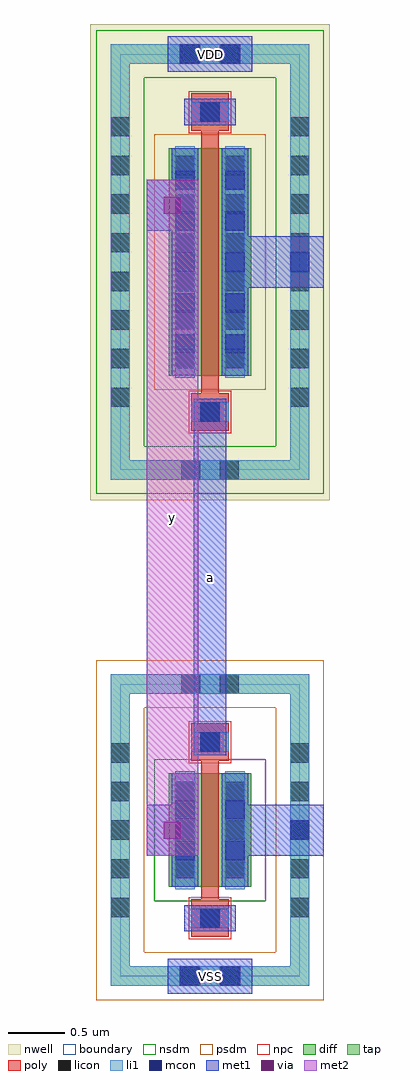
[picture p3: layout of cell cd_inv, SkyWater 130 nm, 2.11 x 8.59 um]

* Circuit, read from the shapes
.subckt cd_inv VDD VSS a y
XM1 VSS a y VSS sky130_fd_pr__nfet_01v8 w=1 l=0.15
XM2 VDD a y VDD sky130_fd_pr__pfet_01v8 w=2 l=0.15
.ends

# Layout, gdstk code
import gdstk
lib = gdstk.Library(unit=1e-6, precision=1e-09)
def R(c, l, rs):  # rectangles x0, y0, x1, y1
    for r in rs: c.add(gdstk.rectangle(r[:2], r[2:], *l))
def A(c, l, x, y, w, h, nx, ny, dx, dy):  # array of equal rectangles
    R(c, l, [(x+i*dx, y+j*dy, x+i*dx+w, y+j*dy+h) for i in range(nx) for j in range(ny)])
nwell = (64, 20)
diff = (65, 20)
tap = (65, 44)
poly = (66, 20)
licon = (66, 44)
li1 = (67, 20)
mcon = (67, 44)
met1 = (68, 20)
via = (68, 44)
met2 = (69, 20)
nsdm = (93, 44)
psdm = (94, 20)
npc = (95, 20)
boundary = (235, 4)

cd_p2_l015 = lib.new_cell('cd_p2_l015')
R(cd_p2_l015, nwell, [(-1.055,-2.095,1.055,2.095)])
R(cd_p2_l015, diff, [(-0.365,-1,0.365,1)])
R(cd_p2_l015, tap, [(-0.875,-1.915,0.875,-1.745), (-0.875,-1.745,-0.705,1.745), (0.705,-1.745,0.875,1.745), (-0.875,1.745,0.875,1.915)])
R(cd_p2_l015, poly, [(-0.165,-1.485,0.165,-1.155), (-0.075,-1.155,0.075,1.155), (-0.165,1.155,0.165,1.485)])
A(cd_p2_l015, licon, -0.875, -1.275, 0.17, 0.17, 1, 8, 0, 0.34)
A(cd_p2_l015, licon, 0.705, -1.275, 0.17, 0.17, 1, 8, 0, 0.34)
A(cd_p2_l015, licon, -0.305, -0.935, 0.17, 0.17, 1, 6, 0, 0.34)
A(cd_p2_l015, licon, 0.135, -0.935, 0.17, 0.17, 1, 6, 0, 0.34)
R(cd_p2_l015, licon, [(-0.255,-1.915,-0.085,-1.745), (0.085,-1.915,0.255,-1.745), (-0.085,-1.405,0.085,-1.235), (-0.085,1.235,0.085,1.405), (-0.255,1.745,-0.085,1.915), (0.085,1.745,0.255,1.915)])
R(cd_p2_l015, li1, [(-0.875,-1.915,0.875,-1.745), (-0.875,-1.745,-0.705,1.745), (0.705,-1.745,0.875,1.745), (-0.165,-1.405,0.165,-1.235), (-0.305,-1.02,-0.135,1.02), (0.135,-1.02,0.305,1.02), (-0.165,1.235,0.165,1.405), (-0.875,1.745,0.875,1.915)])
A(cd_p2_l015, mcon, -0.305, -0.805, 0.17, 0.17, 1, 5, 0, 0.36)
A(cd_p2_l015, mcon, 0.135, -0.805, 0.17, 0.17, 1, 5, 0, 0.36)
R(cd_p2_l015, mcon, [(-0.085,-1.405,0.085,-1.235), (-0.085,1.235,0.085,1.405)])
R(cd_p2_l015, met1, [(-0.145,-1.435,0.145,-1.205), (-0.335,-1,-0.105,1), (0.105,-1,0.335,1), (-0.145,1.205,0.145,1.435)])
R(cd_p2_l015, nsdm, [(-1,-2.04,1,-1.62), (-1,-1.62,-0.58,1.62), (0.58,-1.62,1,1.62), (-1,1.62,1,2.04)])
R(cd_p2_l015, psdm, [(-0.49,-1.125,0.49,1.125)])
R(cd_p2_l015, npc, [(-0.185,-1.505,0.185,-1.135), (-0.185,1.135,0.185,1.505)])
R(cd_p2_l015, boundary, [(-0.79,-1.83,0.79,1.83)])
cd_p2_l015.add(gdstk.Label('B', (0,-1.83), layer=67, texttype=5))
cd_p2_l015.add(gdstk.Label('D', (-0.22,0), layer=67, texttype=5))
cd_p2_l015.add(gdstk.Label('S', (0.22,0), layer=67, texttype=5))
cd_p2_l015.add(gdstk.Label('G', (0,1.32), layer=67, texttype=5))

cd_n1_l015 = lib.new_cell('cd_n1_l015')
R(cd_n1_l015, diff, [(-0.365,-0.5,0.365,0.5)])
R(cd_n1_l015, tap, [(-0.875,-1.37,0.875,-1.2), (-0.875,-1.2,-0.705,1.2), (0.705,-1.2,0.875,1.2), (-0.875,1.2,0.875,1.37)])
R(cd_n1_l015, poly, [(-0.165,-0.94,0.165,-0.61), (-0.075,-0.61,0.075,0.61), (-0.165,0.61,0.165,0.94)])
A(cd_n1_l015, licon, -0.875, -0.765, 0.17, 0.17, 1, 5, 0, 0.34)
A(cd_n1_l015, licon, 0.705, -0.765, 0.17, 0.17, 1, 5, 0, 0.34)
A(cd_n1_l015, licon, -0.305, -0.425, 0.17, 0.17, 1, 3, 0, 0.34)
A(cd_n1_l015, licon, 0.135, -0.425, 0.17, 0.17, 1, 3, 0, 0.34)
R(cd_n1_l015, licon, [(-0.255,-1.37,-0.085,-1.2), (0.085,-1.37,0.255,-1.2), (-0.085,-0.86,0.085,-0.69), (-0.085,0.69,0.085,0.86), (-0.255,1.2,-0.085,1.37), (0.085,1.2,0.255,1.37)])
R(cd_n1_l015, li1, [(-0.875,-1.37,0.875,-1.2), (-0.875,-1.2,-0.705,1.2), (0.705,-1.2,0.875,1.2), (-0.165,-0.86,0.165,-0.69), (-0.305,-0.52,-0.135,0.52), (0.135,-0.52,0.305,0.52), (-0.165,0.69,0.165,0.86), (-0.875,1.2,0.875,1.37)])
R(cd_n1_l015, mcon, [(-0.085,-0.86,0.085,-0.69), (-0.305,-0.265,-0.135,-0.095), (0.135,-0.265,0.305,-0.095), (-0.305,0.095,-0.135,0.265), (0.135,0.095,0.305,0.265), (-0.085,0.69,0.085,0.86)])
R(cd_n1_l015, met1, [(-0.145,-0.89,0.145,-0.66), (-0.335,-0.5,-0.105,0.5), (0.105,-0.5,0.335,0.5), (-0.145,0.66,0.145,0.89)])
R(cd_n1_l015, nsdm, [(-0.49,-0.625,0.49,0.625)])
R(cd_n1_l015, psdm, [(-1,-1.495,1,-1.075), (-1,-1.075,-0.58,1.075), (0.58,-1.075,1,1.075), (-1,1.075,1,1.495)])
R(cd_n1_l015, npc, [(-0.185,-0.96,0.185,-0.59), (-0.185,0.59,0.185,0.96)])
R(cd_n1_l015, boundary, [(-0.79,-1.285,0.79,1.285)])
cd_n1_l015.add(gdstk.Label('B', (0,-1.285), layer=67, texttype=5))
cd_n1_l015.add(gdstk.Label('D', (-0.22,0), layer=67, texttype=5))
cd_n1_l015.add(gdstk.Label('S', (0.22,0), layer=67, texttype=5))
cd_n1_l015.add(gdstk.Label('G', (0,0.775), layer=67, texttype=5))

cd_inv = lib.new_cell('cd_inv')
R(cd_inv, li1, [(-0.3,3.13,0.3,3.3), (0.705,4.36,0.875,4.64), (0.705,9.36,0.875,9.64), (-0.3,11.245,0.3,11.415)])
R(cd_inv, mcon, [(-0.265,3.13,-0.095,3.3), (0.095,3.13,0.265,3.3), (0.705,4.415,0.875,4.585), (0.705,9.415,0.875,9.585), (-0.265,11.245,-0.095,11.415), (0.095,11.245,0.265,11.415)])
R(cd_inv, met1, [(-0.37,3.06,0.37,3.37), (-0.225,3.61,0.225,3.84), (-0.555,4.275,-0.105,4.725), (0.105,4.275,1,4.725), (-0.145,5.16,0.145,8.295), (0.105,9.275,1,9.725), (-0.555,9.775,-0.105,10.225), (-0.225,10.705,0.225,10.935), (-0.37,11.175,0.37,11.485)])
R(cd_inv, via, [(-0.405,4.425,-0.255,4.575), (-0.405,9.925,-0.255,10.075)])
R(cd_inv, met2, [(-0.555,4.275,-0.105,10.225)])
cd_inv.add(gdstk.Reference(cd_p2_l015, (0,9.5)))
cd_inv.add(gdstk.Reference(cd_n1_l015, (0,4.5)))
cd_inv.add(gdstk.Label('a', (0,6.725), layer=68, texttype=5))
cd_inv.add(gdstk.Label('y', (-0.33,7.25), layer=69, texttype=5))
cd_inv.add(gdstk.Label('VDD', (0,11.33), layer=68, texttype=5))
cd_inv.add(gdstk.Label('VSS', (0,3.215), layer=68, texttype=5))

lib.write_gds('cd_inv.gds')
